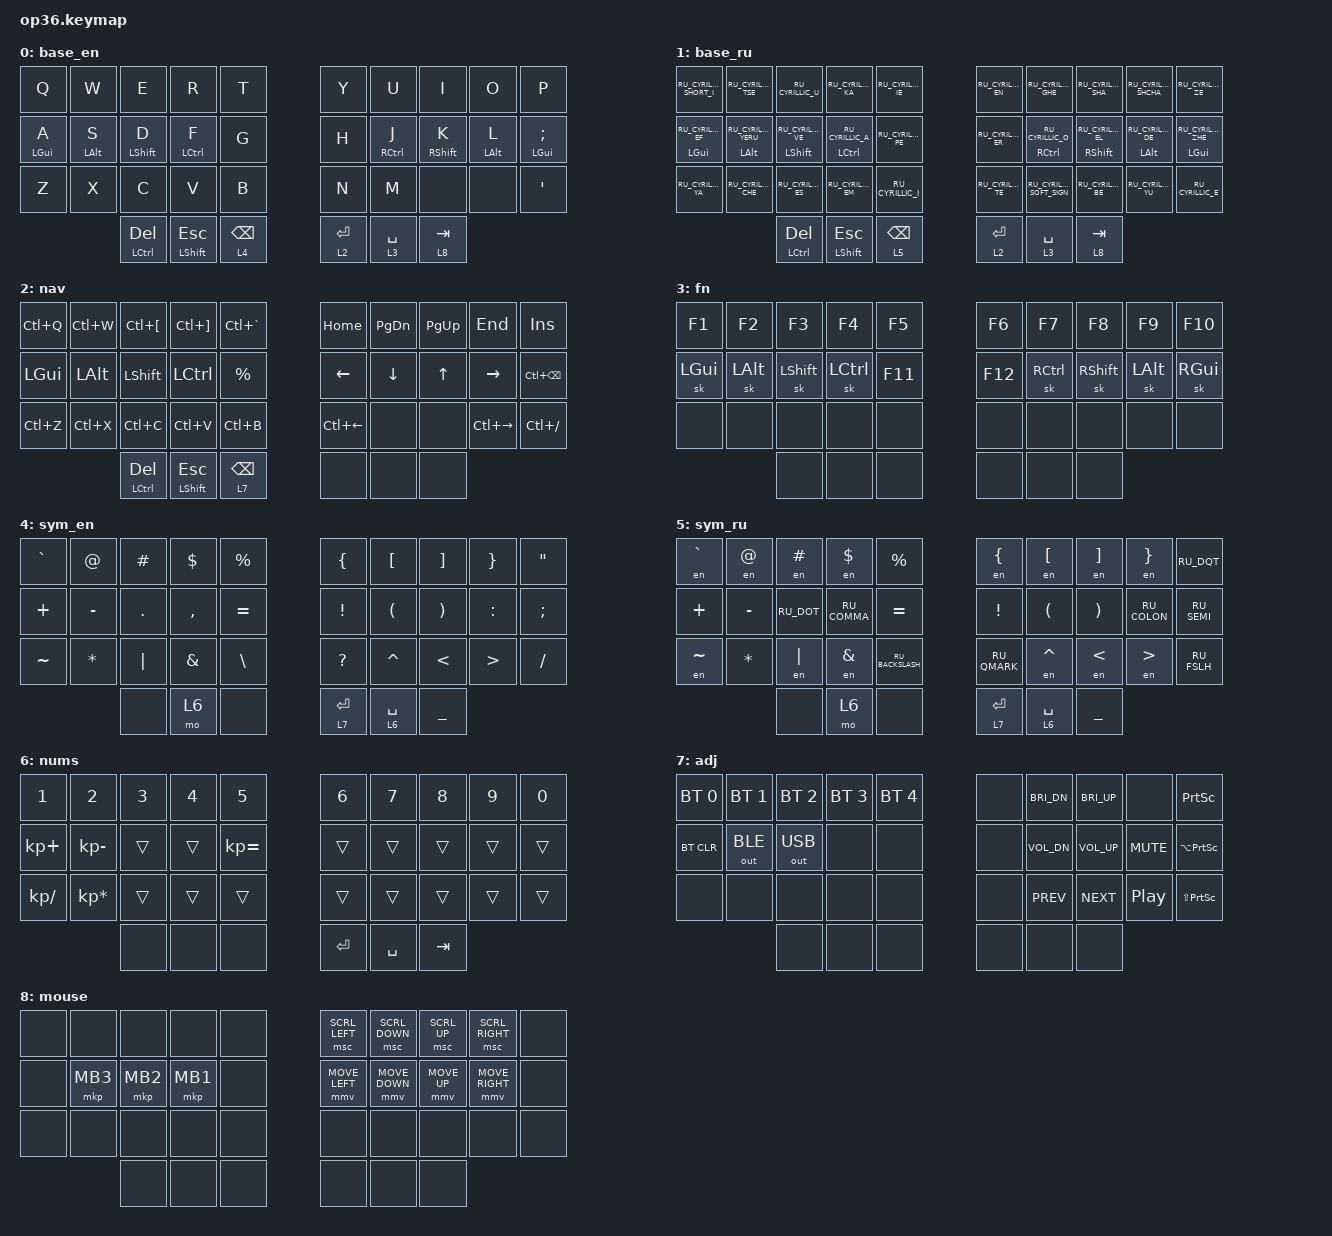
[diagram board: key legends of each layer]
#include "keys_ru.h"
#include <behaviors.dtsi>
#include <dt-bindings/zmk/bt.h>
#include <dt-bindings/zmk/keys.h>
#include <dt-bindings/zmk/outputs.h>
#include <dt-bindings/zmk/pointing.h>

&lt {
    flavor = "balanced";
    tapping-term-ms = <150>;
};

/ {
    behaviors {
        hml: home_row_mod_left {
            compatible = "zmk,behavior-hold-tap";
            #binding-cells = <2>;
            flavor = "balanced";
            require-prior-idle-ms = <150>;
            tapping-term-ms = <200>;
            quick-tap-ms = <175>;
            bindings = <&kp>, <&kp>;

            hold-trigger-key-positions = <5 6 7 8 9 15 16 17 18 19 25 26 27 28 29 33 34 35>;
            hold-trigger-on-release;
        };

        hmr: home_row_mod_right {
            compatible = "zmk,behavior-hold-tap";
            #binding-cells = <2>;
            flavor = "balanced";
            require-prior-idle-ms = <150>;
            tapping-term-ms = <200>;
            quick-tap-ms = <175>;
            bindings = <&kp>, <&kp>;

            hold-trigger-key-positions = <0 1 2 3 4 10 11 12 13 14 20 21 22 23 24 30 31 32>;
            hold-trigger-on-release;
        };
    };

    combos {
        compatible = "zmk,combos";

        kha {
            bindings = <&kp RU_CYRILLIC_HA>;
            key-positions = <6 16>;
            layers = <1>;
        };

        hrdsgn {
            bindings = <&kp RU_CYRILLIC_HARD_SIGN>;
            key-positions = <7 17>;
            layers = <1>;
        };

        en {
            bindings = <&layer_en>;
            key-positions = <2 12>;
            layers = <0 1>;
        };

        ru {
            bindings = <&layer_ru>;
            key-positions = <3 13>;
            layers = <0 1>;
        };
    };

    macros {
        to_ru: to_ru {
            compatible = "zmk,behavior-macro";
            #binding-cells = <0>;
            bindings = <&kp LS(CAPS)>;
            label = "TO_RU";
        };

        to_en: to_en {
            compatible = "zmk,behavior-macro";
            #binding-cells = <0>;
            bindings = <&kp CAPS>;
            label = "TO_EN";
        };

        layer_en: layer_en {
            compatible = "zmk,behavior-macro";
            #binding-cells = <0>;
            bindings = <&to 0 &to_en>;
            label = "LAYER_EN";
        };

        layer_ru: layer_ru {
            compatible = "zmk,behavior-macro";
            #binding-cells = <0>;
            bindings = <&to 1 &to_ru>;
            label = "LAYER_RU";
        };

        en: en {
            compatible = "zmk,behavior-macro-one-param";
            #binding-cells = <1>;
            bindings =
                <&to_en &macro_param_1to1 &kp MACRO_PLACEHOLDER>,
                <&macro_wait_time 10>,
                <&to_ru>,
                <&macro_wait_time 10>;

            label = "EN";
        };
    };

    keymap {
        compatible = "zmk,keymap";

        base_en {
            bindings = <
  &kp Q        &kp W        &kp E         &kp R          &kp T                                          &kp Y        &kp U         &kp I         &kp O        &kp P
  &hml LGUI A  &hml LALT S  &hml LSHFT D  &hml LCTRL F   &kp G                                          &kp H        &hmr RCTRL J  &hmr RSHFT K  &hmr LALT L  &hmr LGUI SEMICOLON
  &kp Z        &kp X        &kp C         &kp V          &kp B                                          &kp N        &kp M         &none         &none        &kp SQT
                                          &mt LCTRL DEL  &mt LSHFT ESC  &lt 4 BACKSPACE    &lt 2 ENTER  &lt 3 SPACE  &lt 8 TAB
            >;
        };

        base_ru {
            bindings = <
  &kp RU_CYRILLIC_SHORT_I   &kp RU_CYRILLIC_TSE         &kp RU_CYRILLIC_U          &kp RU_CYRILLIC_KA        &kp RU_CYRILLIC_IE                                  &kp RU_CYRILLIC_EN  &kp RU_CYRILLIC_GHE        &kp RU_CYRILLIC_SHA        &kp RU_CYRILLIC_SHCHA     &kp RU_CYRILLIC_ZE
  &hml LGUI RU_CYRILLIC_EF  &hml LALT RU_CYRILLIC_YERU  &hml LSHFT RU_CYRILLIC_VE  &hml LCTRL RU_CYRILLIC_A  &kp RU_CYRILLIC_PE                                  &kp RU_CYRILLIC_ER  &hmr RCTRL RU_CYRILLIC_O   &hmr RSHFT RU_CYRILLIC_EL  &hmr LALT RU_CYRILLIC_DE  &hmr LGUI RU_CYRILLIC_ZHE
  &kp RU_CYRILLIC_YA        &kp RU_CYRILLIC_CHE         &kp RU_CYRILLIC_ES         &kp RU_CYRILLIC_EM        &kp RU_CYRILLIC_I                                   &kp RU_CYRILLIC_TE  &kp RU_CYRILLIC_SOFT_SIGN  &kp RU_CYRILLIC_BE         &kp RU_CYRILLIC_YU        &kp RU_CYRILLIC_E
                                                                                   &mt LCTRL DEL             &mt LSHFT ESC       &lt 5 BACKSPACE    &lt 2 ENTER  &lt 3 SPACE         &lt 8 TAB
            >;
        };

        nav {
            bindings = <
  &kp LC(Q)  &kp LC(W)  &kp LC(LBKT)  &kp LC(RBKT)   &kp LC(GRAVE)                               &kp HOME      &kp PG_DN  &kp PG_UP  &kp END        &kp INS
  &kp LGUI   &kp LALT   &kp LSHFT     &kp LCTRL      &kp PRCNT                                   &kp LEFT      &kp DOWN   &kp UP     &kp RIGHT      &kp LC(BACKSPACE)
  &kp LC(Z)  &kp LC(X)  &kp LC(C)     &kp LC(V)      &kp LC(B)                                   &kp LC(LEFT)  &none      &none      &kp LC(RIGHT)  &kp LC(FSLH)
                                      &mt LCTRL DEL  &mt LSHFT ESCAPE  &lt 7 BACKSPACE    &none  &none         &none
            >;
        };

        fn {
            bindings = <
  &kp F1    &kp F2    &kp F3     &kp F4     &kp F5                   &kp F6   &kp F7     &kp F8     &kp F9    &kp F10
  &sk LGUI  &sk LALT  &sk LSHFT  &sk LCTRL  &kp F11                  &kp F12  &sk RCTRL  &sk RSHFT  &sk LALT  &sk RGUI
  &none     &none     &none      &none      &none                    &none    &none      &none      &none     &none
                                 &none      &none    &none    &none  &none    &none
            >;
        };

        sym_en {
            bindings = <
  &kp GRAVE  &kp AT_SIGN  &kp HASH  &kp DLLR   &kp PRCNT                        &kp LBRC     &kp LBKT   &kp RBKT  &kp RBRC   &kp DQT
  &kp PLUS   &kp MINUS    &kp DOT   &kp COMMA  &kp EQUAL                        &kp EXCL     &kp LPAR   &kp RPAR  &kp COLON  &kp SEMICOLON
  &kp TILDE  &kp STAR     &kp PIPE  &kp AMPS   &kp BSLH                         &kp QMARK    &kp CARET  &kp LT    &kp GT     &kp FSLH
                                    &none      &mo 6      &none    &lt 7 ENTER  &lt 6 SPACE  &kp UNDER
            >;
        };

        sym_ru {
            bindings = <
  &en GRAVE  &en AT_SIGN  &en HASH    &en DLLR      &kp PRCNT                               &en LBRC      &en LBKT   &en RBKT  &en RBRC      &kp RU_DQT
  &kp PLUS   &kp MINUS    &kp RU_DOT  &kp RU_COMMA  &kp EQUAL                               &kp EXCL      &kp LPAR   &kp RPAR  &kp RU_COLON  &kp RU_SEMI
  &en TILDE  &kp STAR     &en PIPE    &en AMPS      &kp RU_BACKSLASH                        &kp RU_QMARK  &en CARET  &en LT    &en GT        &kp RU_FSLH
                                      &none         &mo 6             &none    &lt 7 ENTER  &lt 6 SPACE   &kp UNDER
            >;
        };

        nums {
            bindings = <
  &kp N1         &kp N2           &kp N3  &kp N4  &kp N5                          &kp N6     &kp N7   &kp N8  &kp N9  &kp N0
  &kp KP_PLUS    &kp KP_MINUS     &trans  &trans  &kp KP_EQUAL                    &trans     &trans   &trans  &trans  &trans
  &kp KP_DIVIDE  &kp KP_MULTIPLY  &trans  &trans  &trans                          &trans     &trans   &trans  &trans  &trans
                                          &none   &none         &none    &kp RET  &kp SPACE  &kp TAB
            >;
        };

        adj {
            bindings = <
  &bt BT_SEL 0  &bt BT_SEL 1  &bt BT_SEL 2  &bt BT_SEL 3  &bt BT_SEL 4                  &none  &kp C_BRI_DN  &kp C_BRI_UP  &none       &kp PRINTSCREEN
  &bt BT_CLR    &out OUT_BLE  &out OUT_USB  &none         &none                         &none  &kp C_VOL_DN  &kp C_VOL_UP  &kp C_MUTE  &kp LA(PRINTSCREEN)
  &none         &none         &none         &none         &none                         &none  &kp C_PREV    &kp C_NEXT    &kp C_PP    &kp LS(PRINTSCREEN)
                                            &none         &none         &none    &none  &none  &none
            >;
        };

        mouse {
            bindings = <
  &none  &none     &none     &none     &none                  &msc SCRL_LEFT  &msc SCRL_DOWN  &msc SCRL_UP  &msc SCRL_RIGHT  &none
  &none  &mkp MB3  &mkp MB2  &mkp MB1  &none                  &mmv MOVE_LEFT  &mmv MOVE_DOWN  &mmv MOVE_UP  &mmv MOVE_RIGHT  &none
  &none  &none     &none     &none     &none                  &none           &none           &none         &none            &none
                             &none     &none  &none    &none  &none           &none
            >;
        };
    };

    conditional_layers { compatible = "zmk,conditional-layers"; };
};
